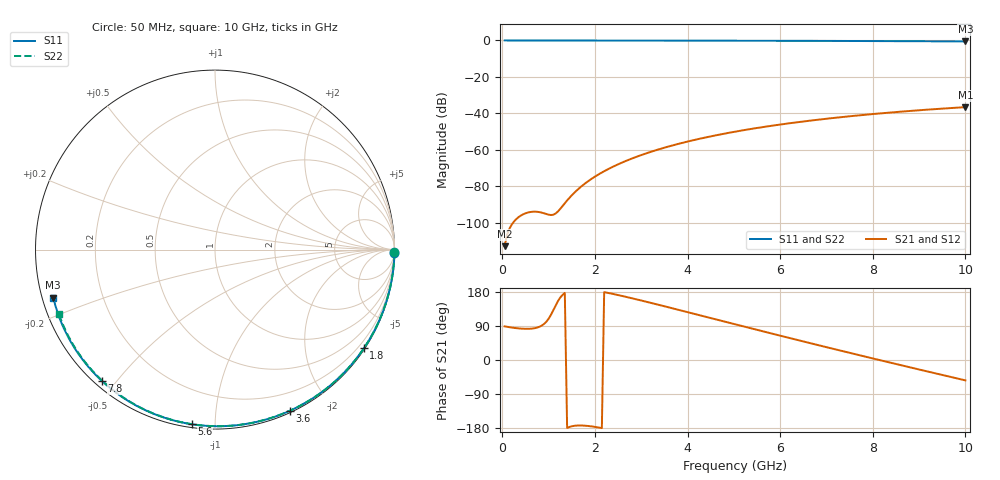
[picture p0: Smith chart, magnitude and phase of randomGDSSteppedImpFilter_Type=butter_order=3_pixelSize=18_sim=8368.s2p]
! freq	dB(S11)	phase(S11)	dB(S12)	phase(S12)
!  dB(S21)	phase(S21)	dB(S22)	phase(S22)
!S-par simulation data
#  GHz  S  DB  R 50
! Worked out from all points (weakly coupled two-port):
!   200 points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, 50 MHz to 10 GHz, reference 50 ohm
!   highest |S21| = -36.58 dB at 10 GHz (marker M1); lowest = -112.8 dB at 50 MHz (marker M2)
!   lowest |S11| = -0.5 dB at 10 GHz (marker M3), VSWR 32.31, Z = 1.58 - j7.26 ohm
!   |S11| at or under -10 dB: nowhere
!   |S22| runs from -0.5 to 0.0 dB; largest |S21 - S12| = 0
!   S11 on the Smith chart (normalised r, x): 50 MHz: open; 1.8 GHz: 0.03, -3.32; 3.6 GHz: 0.02, -1.56; 5.6 GHz: 0.02, -0.88; 7.8 GHz: 0.02, -0.46; 10 GHz: 0.03, -0.15
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0.05  -0.00 -1.0  -112.83 88.8  -112.83 88.8  -0.00 -0.9
0.45  -0.01 -8.5  -95.36 82.5  -95.36 82.5  -0.01 -8.2
0.85  -0.02 -16.0  -94.41 90.6  -94.41 90.6  -0.02 -15.5
1.25  -0.03 -23.4  -92.41 164.6  -92.41 164.6  -0.03 -22.6
1.7  -0.04 -31.7  -80.19 -172.8  -80.19 -172.8  -0.04 -30.6
1.75  -0.04 -32.6  -79.17 -173.1  -79.17 -173.1  -0.04 -31.5
1.8  -0.04 -33.5  -78.19 -173.5  -78.19 -173.5  -0.04 -32.4
2.1  -0.05 -39.0  -73.15 -178.6  -73.15 -178.6  -0.05 -37.6
2.3  -0.05 -42.6  -70.38 176.7  -70.38 176.7  -0.05 -41.1
2.5  -0.06 -46.1  -67.94 171.4  -67.94 171.4  -0.06 -44.5
2.9  -0.07 -53.2  -63.78 160.0  -63.78 160.0  -0.07 -51.3
3.4  -0.08 -61.8  -59.56 144.9  -59.56 144.9  -0.08 -59.7
3.6  -0.09 -65.2  -58.09 138.7  -58.09 138.7  -0.08 -63.0
4.3  -0.11 -76.9  -53.69 117.0  -53.69 117.0  -0.11 -74.3
5.05  -0.14 -89.0  -49.92 93.6  -49.92 93.6  -0.13 -86.0
5.6  -0.16 -97.6  -47.61 76.5  -47.61 76.5  -0.16 -94.4
6.15  -0.19 -106.1  -45.59 59.6  -45.59 59.6  -0.18 -102.5
6.7  -0.22 -114.4  -43.81 42.9  -43.81 42.9  -0.22 -110.6
7.8  -0.30 -130.7  -40.84 10.0  -40.84 10.0  -0.30 -126.3
8.35  -0.35 -138.8  -39.59 -6.2  -39.59 -6.2  -0.34 -134.0
9.2  -0.44 -151.3  -37.91 -30.8  -37.91 -30.8  -0.43 -146.0
10  -0.54 -163.5  -36.58 -53.8  -36.58 -53.8  -0.53 -157.4
